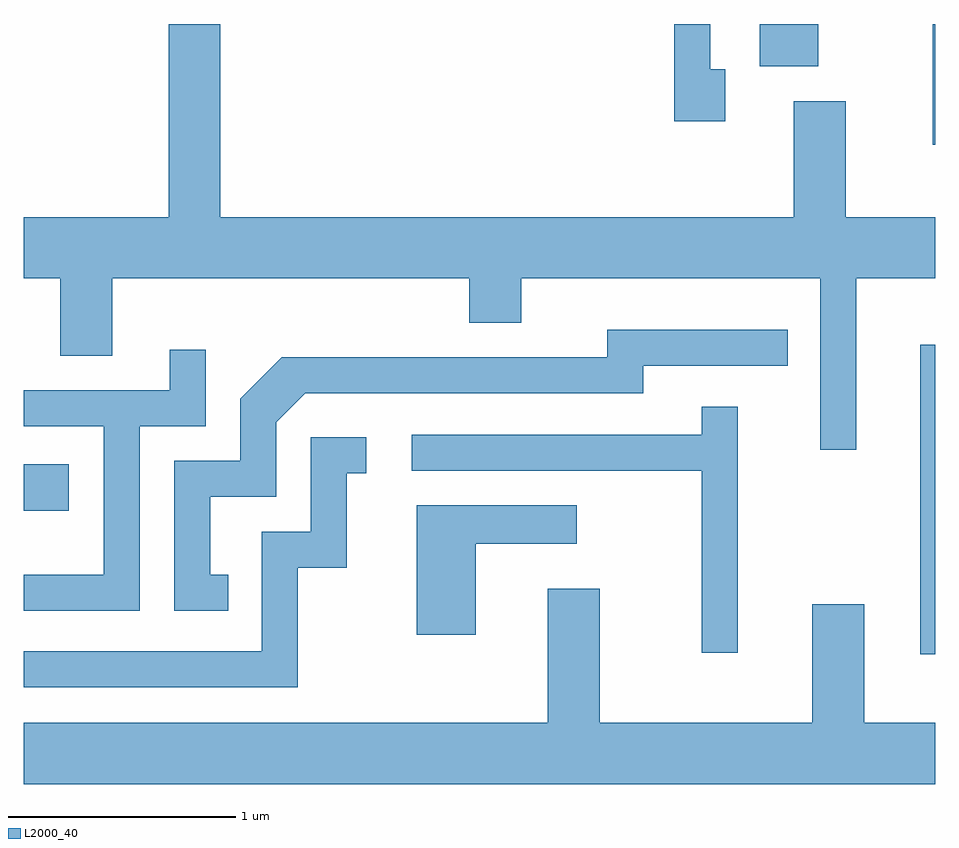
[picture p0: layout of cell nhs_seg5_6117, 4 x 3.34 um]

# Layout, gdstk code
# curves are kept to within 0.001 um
import gdstk
lib = gdstk.Library(unit=1e-6, precision=1e-09)
def R(c, l, rs):  # rectangles x0, y0, x1, y1
    for r in rs: c.add(gdstk.rectangle(r[:2], r[2:], *l))
def P(c, l, *ps):  # polygons
    for p in ps: c.add(gdstk.Polygon(p, *l))
L2000_40 = (2000, 40)

nhs_seg5_6117 = lib.new_cell('nhs_seg5_6117')
R(nhs_seg5_6117, L2000_40, [(369.546,1517.306,369.611,1518.664), (365.611,1517.936,365.809,1518.139), (369.601,1519.541,369.611,1520.072), (368.841,1519.886,369.099,1520.072)])
P(nhs_seg5_6117, L2000_40, [(369.264,1518.956),(369.611,1518.956),(369.611,1519.224),(369.219,1519.224),(369.219,1519.734),(368.991,1519.734),(368.991,1519.224),(366.474,1519.224),(366.474,1520.072),(366.246,1520.072),(366.246,1519.224),(365.611,1519.224),(365.611,1518.956),(365.771,1518.956),(365.771,1518.616),(365.999,1518.616),(365.999,1518.956),(367.566,1518.956),(367.566,1518.761),(367.794,1518.761),(367.794,1518.956),(369.106,1518.956),(369.106,1518.203),(369.264,1518.203)],
  [(368.689,1519.874),(368.624,1519.874),(368.624,1520.072),(368.466,1520.072),(368.466,1519.646),(368.689,1519.646)],
  [(366.508,1517.654),(366.429,1517.654),(366.429,1517.996),(366.719,1517.996),(366.719,1518.324),(366.847,1518.451),(368.329,1518.451),(368.329,1518.571),(368.963,1518.571),(368.963,1518.729),(368.171,1518.729),(368.171,1518.609),(366.744,1518.609),(366.561,1518.427),(366.561,1518.154),(366.271,1518.154),(366.271,1517.496),(366.508,1517.496)],
  [(366.119,1518.306),(366.409,1518.306),(366.409,1518.643),(366.251,1518.643),(366.251,1518.464),(365.611,1518.464),(365.611,1518.306),(365.961,1518.306),(365.961,1517.654),(365.611,1517.655),(365.611,1517.496),(366.119,1517.496)],
  [(368.744,1518.393),(368.586,1518.393),(368.586,1518.269),(367.313,1518.269),(367.313,1518.111),(368.586,1518.111),(368.586,1517.313),(368.744,1517.313)],
  [(366.814,1517.686),(367.029,1517.686),(367.029,1518.101),(367.113,1518.101),(367.113,1518.259),(366.871,1518.259),(366.871,1517.844),(366.656,1517.844),(366.656,1517.319),(365.611,1517.319),(365.611,1517.161),(366.814,1517.161)],
  [(367.594,1517.791),(368.038,1517.791),(368.038,1517.959),(367.336,1517.959),(367.336,1517.391),(367.594,1517.391)],
  [(369.611,1517.004),(369.299,1517.004),(369.299,1517.524),(369.071,1517.524),(369.071,1517.004),(368.139,1517.004),(368.139,1517.594),(367.911,1517.594),(367.911,1517.004),(365.611,1517.004),(365.611,1516.736),(369.611,1516.736)])

lib.write_gds('nhs_seg5_6117.gds')
